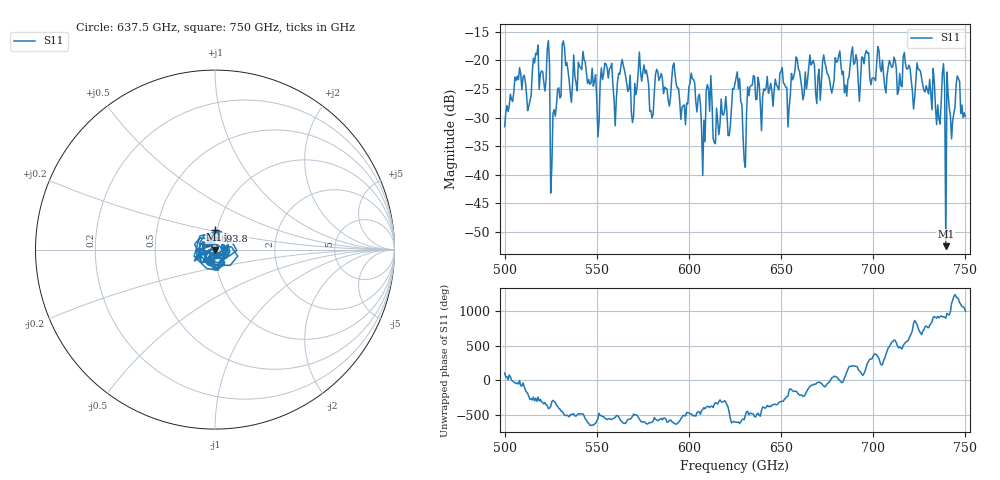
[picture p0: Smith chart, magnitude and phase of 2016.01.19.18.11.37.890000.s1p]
!Created with skrf (http://scikit-rf.org).
# GHz S RI R 50.0
!freq ReS11 ImS11
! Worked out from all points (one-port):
!   401 points, 500 GHz to 750 GHz, reference 50 ohm
!   lowest |S11| = -52.5 dB at 739.4 GHz (marker M1), VSWR 1.00, Z = 49.8 + j0.016 ohm
!   |S11| at or under -10 dB: start of sweep to end of sweep
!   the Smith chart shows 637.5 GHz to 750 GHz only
!   S11 on the Smith chart (normalised r, x): 637.5 GHz: 0.94, -0.12; 693.8 GHz: 0.98, +0.21; 750 GHz: 1.01, -0.06
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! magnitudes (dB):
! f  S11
! 500 GHz  -31.6
! 506.9 GHz  -22.8
! 513.1 GHz  -28.0
! 516.9 GHz  -18.8
! 523.1 GHz  -18.1
! 526.2 GHz  -29.2
! 531.2 GHz  -17.3
! 550 GHz  -26.6
! 562.5 GHz  -22.4
! 570 GHz  -29.7
! 574.4 GHz  -23.6
! 580 GHz  -30.1
! 583.1 GHz  -22.0
! 593.8 GHz  -24.9
! 601.9 GHz  -23.2
! 607.5 GHz  -40.1
! 610.6 GHz  -24.9
! 614.4 GHz  -34.6
! 625 GHz  -24.0
! 630 GHz  -37.5
! 633.1 GHz  -24.6
! 637.5 GHz  -23.0
! 656.2 GHz  -23.4
! 687.5 GHz  -20.8
! 693.8 GHz  -19.4
! 718.8 GHz  -21.5
! 739.4 GHz  -52.5
! 750 GHz  -29.8
